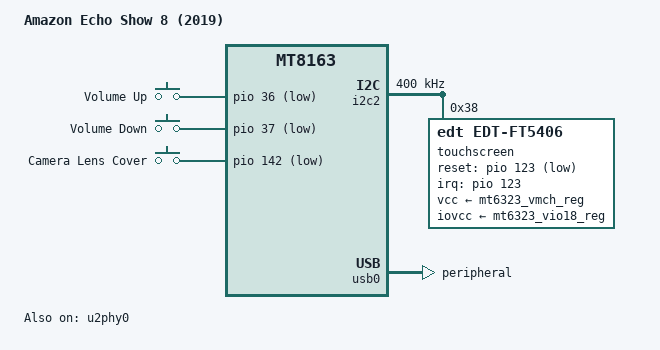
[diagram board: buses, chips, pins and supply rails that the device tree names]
// SPDX-License-Identifier: GPL-2.0
/*
 * Copyright (c) 2025-2026 Ben Grisdale <bengris32@protonmail.ch>
 * Copyright (c) 2025 Jack Matthews <jack@jackmatthe.ws>
 */

/dts-v1/;
#include <dt-bindings/gpio/gpio.h>
#include <dt-bindings/input/input.h>

#include "mt8163-amazon.dtsi"

/ {
	model = "Amazon Echo Show 8 (2019)";
	compatible = "amazon,crown", "mediatek,mt8163";
	chassis-type = "embedded";

	/* Needed by stock bootloader */
	version = "pvt";

	simple-framebuffer-params {
		compatible = "simple-framebuffer-params";
		width = <800>;
		height = <1280>;
		stride = <(800 * 4)>; /* 4 bytes per pixel */
		format = "a8b8g8r8";
	};

	gpio-keys {
		compatible = "gpio-keys";
		pinctrl-names = "default";
		pinctrl-0 = <&gpio_keys_pins>;

		key-volume-up {
			label = "Volume Up";
			linux,code = <KEY_VOLUMEUP>;
			gpios = <&pio 36 GPIO_ACTIVE_LOW>;
			debounce-interval = <20>;
		};

		key-volume-down {
			label = "Volume Down";
			linux,code = <KEY_VOLUMEDOWN>;
			gpios = <&pio 37 GPIO_ACTIVE_LOW>;
			debounce-interval = <20>;
		};

		switch-camera-lens-cover {
			label = "Camera Lens Cover";
			linux,input-type = <EV_SW>;
			linux,code = <SW_CAMERA_LENS_COVER>;
			gpios = <&pio 142 GPIO_ACTIVE_LOW>;
		};
	};
};

&i2c2 {
	clock-frequency = <400000>;
	pinctrl-names = "default";
	pinctrl-0 = <&i2c2_pins_default>;
	status = "okay";

	touchscreen@38 {
		compatible = "edt,edt-ft5406";
		reg = <0x38>;
		pinctrl-names = "default";
		pinctrl-0 = <&touch_pins_default>;
		interrupt-parent = <&pio>;
		interrupts = <123 IRQ_TYPE_EDGE_FALLING>; /* GPIO E */
		reset-gpios = <&pio 123 GPIO_ACTIVE_LOW>;
		vcc-supply = <&mt6323_vmch_reg>;
		iovcc-supply = <&mt6323_vio18_reg>;
		
		touchscreen-size-x = <1280>;
		touchscreen-size-y = <800>;
		
		/* 
		 * TODO: Remove these cheats when we have panel properly rotated
		 * Crown's true panel orientation is portrait,
		 * while touch is landscape
		*/
		touchscreen-inverted-y;
		touchscreen-swapped-x-y;
	};
};

&mt6323_vusb_reg {
	regulator-always-on;
};

&u2phy0 {
	status = "okay";
};

&usb0 {
	/* No 5V supply for OTG support. */
	dr_mode = "peripheral";
	status = "okay";
};

&pio {
	gpio_keys_pins: gpio-keys-pins {
		pins {
			pinmux = <MT8163_PIN_36_KPCOL0__FUNC_GPIO36>,
				 <MT8163_PIN_37_KPCOL1__FUNC_GPIO37>,
				 <MT8163_PIN_142_EINT21__FUNC_GPIO142>;
			bias-pull-up;
			input-enable;
		};
	};

	i2c2_pins_default: i2c2-pins-default {
		pins {
			pinmux = <MT8163_PIN_77_SDA2__FUNC_SDA2_0>,
				 <MT8163_PIN_78_SCL2__FUNC_SCL2_0>;
			bias-disable;
		};
	};

	touch_pins_default: touch-pins-default {
		pins-irq {
			pinmux = <MT8163_PIN_122_MSDC1_CLK__FUNC_GPIO122>;
			bias-pull-up;
			input-enable;
		};

		pins-rst {
			pinmux = <MT8163_PIN_123_MSDC1_DAT0__FUNC_GPIO123>;
			output-high;
		};
	};

};
